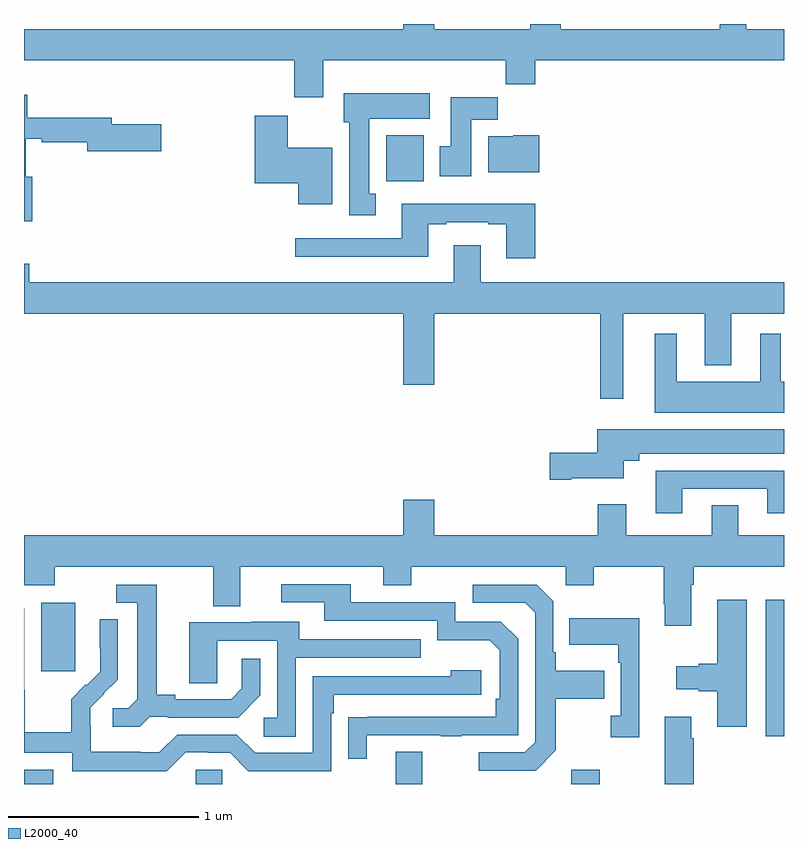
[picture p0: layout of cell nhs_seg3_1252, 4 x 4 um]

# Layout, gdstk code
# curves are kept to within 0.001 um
import gdstk
lib = gdstk.Library(unit=1e-6, precision=1e-09)
def R(c, l, rs):  # rectangles x0, y0, x1, y1
    for r in rs: c.add(gdstk.rectangle(r[:2], r[2:], *l))
def P(c, l, *ps):  # polygons
    for p in ps: c.add(gdstk.Polygon(p, *l))
L2000_40 = (2000, 40)

nhs_seg3_1252 = lib.new_cell('nhs_seg3_1252')
R(nhs_seg3_1252, L2000_40, [(175.001,738.4,175.153,738.475), (175.905,738.4,176.043,738.474), (176.957,738.4,177.097,738.571), (177.881,738.4,178.029,738.475), (178.904,738.651,179,739.369), (175.091,738.993,175.27,739.354), (176.906,741.572,177.103,741.814)])
P(nhs_seg3_1252, L2000_40, [(176.575,742.208),(177.535,742.208),(177.535,742.084),(177.692,742.084),(177.692,742.208),(179,742.208),(179,742.372),(178.801,742.372),(178.801,742.4),(178.661,742.4),(178.661,742.372),(177.825,742.372),(177.825,742.4),(177.665,742.4),(177.665,742.372),(177.16,742.372),(177.16,742.4),(176.996,742.4),(176.996,742.372),(175,742.372),(175,742.208),(176.423,742.208),(176.423,742.014),(176.575,742.014)],
  [(176.851,741.506),(176.818,741.506),(176.818,741.902),(177.136,741.902),(177.136,742.036),(176.684,742.036),(176.684,741.882),(176.711,741.882),(176.711,741.393),(176.851,741.393)],
  [(175.043,741.595),(175.009,741.595),(175.009,741.797),(175.093,741.797),(175.093,741.778),(175.334,741.778),(175.334,741.731),(175.723,741.731),(175.723,741.873),(175.462,741.873),(175.462,741.907),(175.016,741.907),(175.016,742.027),(175,742.027),(175,741.361),(175.043,741.361)],
  [(177.355,741.896),(177.494,741.896),(177.494,742.015),(177.245,742.015),(177.245,741.756),(177.188,741.756),(177.188,741.6),(177.355,741.6)],
  [(176.623,741.748),(176.388,741.748),(176.388,741.916),(176.215,741.916),(176.215,741.563),(176.444,741.563),(176.444,741.452),(176.623,741.452)],
  [(177.712,741.814),(177.576,741.814),(177.576,741.808),(177.443,741.808),(177.443,741.62),(177.712,741.62)],
  [(177.692,741.454),(176.987,741.454),(176.987,741.273),(176.427,741.273),(176.427,741.176),(177.127,741.176),(177.127,741.345),(177.223,741.345),(177.223,741.357),(177.443,741.357),(177.443,741.345),(177.539,741.345),(177.539,741.168),(177.692,741.168)],
  [(178.153,740.876),(178.583,740.876),(178.583,740.603),(178.723,740.603),(178.723,740.876),(179,740.876),(179,741.04),(177.403,741.04),(177.403,741.235),(177.263,741.235),(177.263,741.04),(175.028,741.04),(175.028,741.139),(175,741.139),(175,740.876),(176.996,740.876),(176.996,740.502),(177.16,740.502),(177.16,740.876),(178.032,740.876),(178.032,740.427),(178.153,740.427)],
  [(179,740.518),(178.984,740.518),(178.984,740.77),(178.874,740.77),(178.874,740.518),(178.435,740.518),(178.435,740.77),(178.319,740.77),(178.319,740.354),(179,740.354)],
  [(177.88,740.009),(178.156,740.009),(178.156,740.102),(178.237,740.102),(178.237,740.138),(179,740.138),(179,740.266),(178.016,740.266),(178.016,740.144),(177.768,740.144),(177.768,740.002),(177.88,740.002)],
  [(178.465,739.953),(178.913,739.953),(178.913,739.824),(179,739.824),(179,740.049),(178.325,740.049),(178.325,739.824),(178.465,739.824)],
  [(178.513,739.448),(178.526,739.448),(178.526,739.544),(179,739.544),(179,739.708),(178.759,739.708),(178.759,739.868),(178.619,739.868),(178.619,739.708),(178.171,739.708),(178.171,739.873),(178.019,739.873),(178.019,739.708),(177.16,739.708),(177.16,739.897),(176.996,739.897),(176.996,739.708),(175,739.708),(175,739.544),(175.001,739.544),(175.001,739.445),(175.161,739.445),(175.161,739.544),(175.997,739.544),(175.997,739.336),(176.137,739.336),(176.137,739.544),(176.891,739.544),(176.891,739.445),(177.039,739.445),(177.039,739.544),(177.852,739.544),(177.852,739.445),(177.999,739.445),(177.999,739.544),(178.366,739.544),(178.366,739.345),(178.373,739.345),(178.373,739.233),(178.513,739.233)],
  [(176.803,738.657),(177.193,738.657),(177.193,738.652),(177.305,738.652),(177.305,738.657),(177.6,738.657),(177.6,739.164),(177.51,739.254),(177.27,739.254),(177.27,739.356),(176.719,739.356),(176.719,739.452),(176.355,739.452),(176.355,739.356),(176.579,739.356),(176.579,739.26),(177.174,739.26),(177.174,739.157),(177.451,739.157),(177.504,739.104),(177.504,738.85),(177.484,738.85),(177.484,738.753),(176.707,738.752),(176.707,738.534),(176.803,738.534)],
  [(177.799,738.577),(177.799,738.85),(178.055,738.85),(178.055,738.997),(177.799,738.997),(177.799,739.093),(177.786,739.093),(177.786,739.362),(177.699,739.449),(177.363,739.449),(177.363,739.353),(177.639,739.353),(177.69,739.302),(177.69,738.621),(177.636,738.567),(177.393,738.567),(177.393,738.471),(177.693,738.471)],
  [(175.662,738.753),(175.756,738.753),(175.756,738.75),(176.128,738.75),(176.244,738.866),(176.244,739.06),(176.147,739.06),(176.147,738.903),(176.09,738.846),(175.795,738.846),(175.795,738.869),(175.699,738.869),(175.699,739.449),(175.485,739.449),(175.485,739.353),(175.595,739.353),(175.595,738.845),(175.548,738.798),(175.467,738.798),(175.467,738.701),(175.61,738.701)],
  [(178.804,739.369),(178.649,739.369),(178.649,739.034),(178.55,739.034),(178.55,739.021),(178.434,739.021),(178.434,738.899),(178.55,738.899),(178.55,738.887),(178.649,738.887),(178.649,738.702),(178.804,738.702)],
  [(175.851,738.567),(175.967,738.567),(175.967,738.564),(176.085,738.564),(176.181,738.468),(176.616,738.468),(176.616,738.773),(176.629,738.773),(176.629,738.87),(177.406,738.87),(177.406,739),(177.245,739),(177.245,738.966),(176.52,738.966),(176.52,738.564),(176.217,738.564),(176.121,738.66),(175.806,738.66),(175.713,738.567),(175.613,738.567),(175.613,738.571),(175.35,738.571),(175.35,738.705),(175.348,738.705),(175.348,738.802),(175.494,738.95),(175.494,739.268),(175.398,739.268),(175.398,739.114),(175.4,739.114),(175.4,738.992),(175.329,738.921),(175.326,738.924),(175.249,738.847),(175.249,738.673),(175.005,738.673),(175.005,738.896),(175.002,738.896),(175.002,739.326),(175,739.326),(175,738.564),(175.254,738.564),(175.254,738.467),(175.751,738.467)],
  [(178.238,739.273),(177.871,739.273),(177.871,739.133),(178.128,739.133),(178.128,739.037),(178.14,739.037),(178.14,738.758),(178.089,738.758),(178.089,738.645),(178.238,738.645)],
  [(176.43,739.065),(177.089,739.065),(177.089,739.161),(176.449,739.161),(176.449,739.255),(176.195,739.255),(176.195,739.251),(175.871,739.251),(175.871,738.931),(176.016,738.931),(176.016,739.155),(176.334,739.155),(176.334,738.75),(176.262,738.75),(176.262,738.649),(176.43,738.649)],
  [(178.526,738.641),(178.513,738.641),(178.513,738.754),(178.373,738.754),(178.373,738.4),(178.526,738.4)])

lib.write_gds('nhs_seg3_1252.gds')
